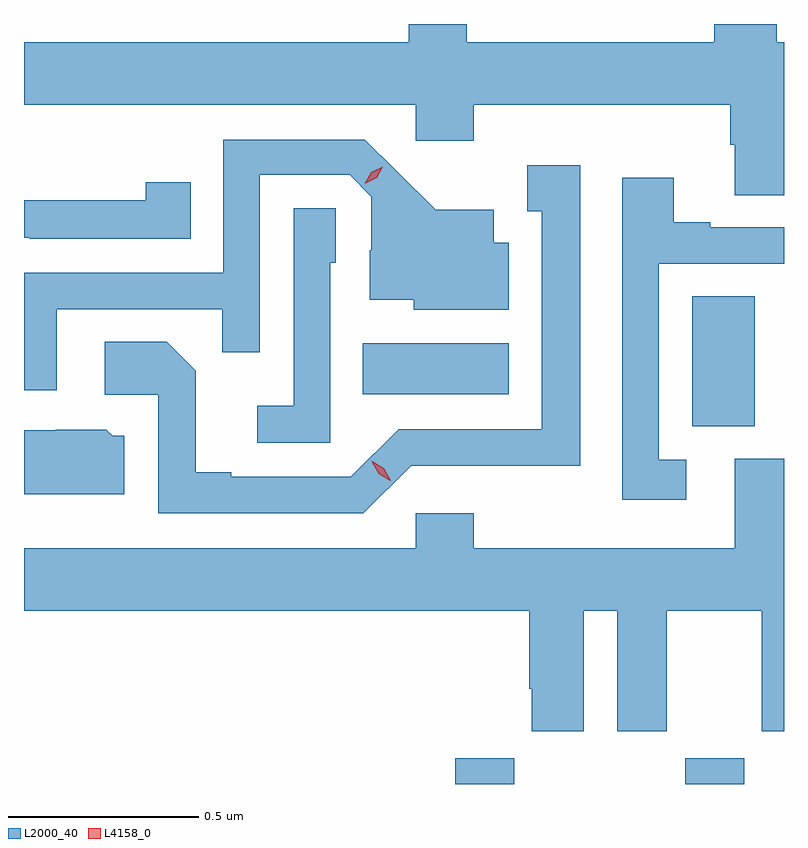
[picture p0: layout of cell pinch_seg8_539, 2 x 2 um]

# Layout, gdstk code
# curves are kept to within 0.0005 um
import gdstk
lib = gdstk.Library(unit=1e-6, precision=1e-09)
def R(c, l, rs):  # rectangles x0, y0, x1, y1
    for r in rs: c.add(gdstk.rectangle(r[:2], r[2:], *l))
def P(c, l, *ps):  # polygons
    for p in ps: c.add(gdstk.Polygon(p, *l))
L2000_40 = (2000, 40)
L4158_0 = (4158, 0)

pinch_seg8_539 = lib.new_cell('pinch_seg8_539')
R(pinch_seg8_539, L2000_40, [(132.062,1117.376,132.217,1117.444), (132.667,1117.376,132.822,1117.444), (132.686,1118.317,132.85,1118.66), (131.818,1118.402,132.202,1118.536)])
P(pinch_seg8_539, L2000_40, [(131.958,1119.069),(132.11,1119.069),(132.11,1119.164),(132.785,1119.164),(132.785,1119.058),(132.797,1119.058),(132.797,1118.926),(132.927,1118.926),(132.927,1119.328),(132.908,1119.328),(132.908,1119.376),(132.743,1119.376),(132.743,1119.328),(132.092,1119.328),(132.092,1119.376),(131.94,1119.376),(131.94,1119.328),(130.927,1119.328),(130.927,1119.164),(131.958,1119.164)],
  [(131.013,1118.625),(131.449,1118.625),(131.449,1118.512),(131.547,1118.512),(131.547,1118.979),(131.784,1118.979),(131.841,1118.922),(131.841,1118.78),(131.837,1118.78),(131.837,1118.651),(131.952,1118.651),(131.952,1118.624),(132.202,1118.624),(132.202,1118.8),(132.163,1118.8),(132.163,1118.887),(132.011,1118.887),(131.824,1119.072),(131.451,1119.072),(131.451,1118.721),(130.927,1118.721),(130.927,1118.412),(131.013,1118.412)],
  [(131.946,1118.214),(132.168,1118.214),(132.168,1118.213),(132.391,1118.213),(132.391,1119.004),(132.251,1119.004),(132.251,1118.883),(132.29,1118.883),(132.29,1118.31),(131.913,1118.31),(131.787,1118.184),(131.473,1118.184),(131.473,1118.197),(131.379,1118.197),(131.379,1118.464),(131.303,1118.54),(131.139,1118.54),(131.139,1118.4),(131.28,1118.4),(131.28,1118.088),(131.82,1118.088)],
  [(132.67,1118.229),(132.597,1118.229),(132.597,1118.745),(132.927,1118.745),(132.927,1118.841),(132.733,1118.841),(132.733,1118.854),(132.637,1118.854),(132.637,1118.971),(132.501,1118.971),(132.501,1118.124),(132.67,1118.124)],
  [(131.366,1118.959),(131.248,1118.959),(131.248,1118.912),(130.927,1118.912),(130.927,1118.814),(130.942,1118.814),(130.942,1118.811),(131.366,1118.811)],
  [(131.733,1118.748),(131.748,1118.748),(131.748,1118.891),(131.637,1118.891),(131.637,1118.371),(131.541,1118.371),(131.541,1118.274),(131.733,1118.274)],
  [(131.191,1118.292),(131.16,1118.292),(131.144,1118.308),(131.01,1118.308),(131.01,1118.307),(130.927,1118.307),(130.927,1118.138),(131.191,1118.138)],
  [(132.4,1117.832),(132.488,1117.832),(132.488,1117.515),(132.619,1117.515),(132.619,1117.832),(132.869,1117.832),(132.869,1117.515),(132.927,1117.515),(132.927,1118.232),(132.797,1118.232),(132.797,1117.996),(132.11,1117.996),(132.11,1118.089),(131.958,1118.089),(131.958,1117.996),(130.927,1117.996),(130.927,1117.832),(132.257,1117.832),(132.257,1117.627),(132.263,1117.627),(132.263,1117.515),(132.4,1117.515)])
P(pinch_seg8_539, L4158_0, [(131.891,1118.174),(131.86,1118.193),(131.842,1118.226),(131.842,1118.226),(131.843,1118.226),(131.874,1118.207),(131.892,1118.174),(131.892,1118.174)],
  [(131.824,1118.956),(131.824,1118.956),(131.841,1118.986),(131.871,1119.001),(131.871,1119.001),(131.871,1119.001),(131.855,1118.971),(131.824,1118.956)])

lib.write_gds('pinch_seg8_539.gds')
